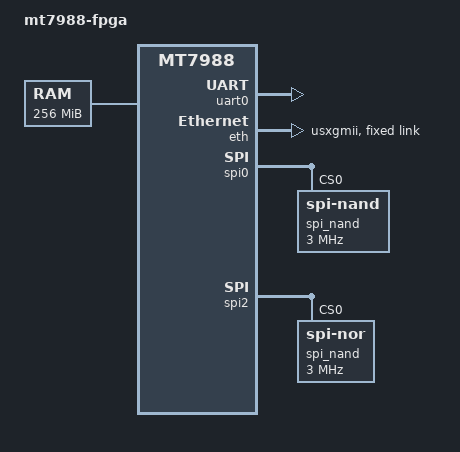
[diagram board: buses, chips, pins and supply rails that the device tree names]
// SPDX-License-Identifier: GPL-2.0
/*
 * Copyright (c) 2021 MediaTek Inc.
 * Author: Sam Shih <sam.shih@mediatek.com>
 */

/dts-v1/;
#include "mt7988-fpga.dtsi"
#include <dt-bindings/gpio/gpio.h>

/ {
	model = "mt7988-fpga";
	compatible = "mediatek,mt7988-fpga";
	chosen {
		stdout-path = &uart0;
	};

	memory@40000000 {
		device_type = "memory";
		reg = <0 0x40000000 0 0x10000000>;
	};
};

&uart0 {
	status = "okay";
};

&eth {
	status = "okay";
	mediatek,gmac-id = <0>;
	phy-mode = "usxgmii";
	mediatek,switch = "mt7988";

	fixed-link {
		speed = <1000>;
		full-duplex;
		pause;
	};
};

&spi0 {
	#address-cells = <1>;
	#size-cells = <0>;
	status = "okay";
	must_tx;
	enhance_timing;
	dma_ext;
	ipm_design;
	support_quad;
	tick_dly = <0>;
	sample_sel = <0>;

	spi_nand@0 {
		compatible = "spi-nand";
		reg = <0>;
		spi-max-frequency = <3000000>;
	};
};

&spi2 {
	#address-cells = <1>;
	#size-cells = <0>;
	status = "okay";
	must_tx;
	enhance_timing;
	dma_ext;
	ipm_design;
	support_quad;
	tick_dly = <0>;
	sample_sel = <0>;

	spi_nand@0 {
		compatible = "jedec,spi-nor";
		reg = <0>;
		spi-max-frequency = <3000000>;
	};
};
